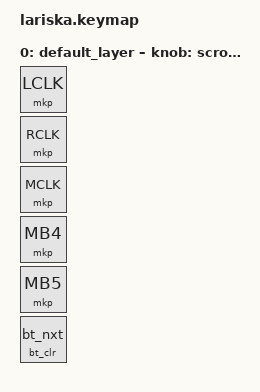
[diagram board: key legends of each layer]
#include <behaviors.dtsi>
#include <zephyr/dt-bindings/input/input-event-codes.h>
#include <dt-bindings/zmk/keys.h>
#include <dt-bindings/zmk/bt.h>
#include <dt-bindings/zmk/pointing.h>

&mkp_input_listener { input-processors = <&esb_ip>; };

/ {
    behaviors {
        /* Zero-param wrappers so hold-tap can bind them with #binding-cells = <2>. */
        bt_nxt: bt_nxt {
            compatible = "zmk,behavior-macro";
            #binding-cells = <0>;
            bindings = <&bt BT_NXT>;
        };

        bt_clr: bt_clr {
            compatible = "zmk,behavior-macro";
            #binding-cells = <0>;
            bindings = <&bt BT_CLR>;
        };

        /* Tap: cycle to next BLE profile.  Hold 3s: clear bonds on current profile. */
        dpi_btn: dpi_btn {
            compatible = "zmk,behavior-hold-tap";
            #binding-cells = <2>;
            tapping-term-ms = <3000>;
            flavor = "tap-preferred";
            bindings = <&bt_clr>, <&bt_nxt>;
        };

        stepped_scroll: stepped_scroll {
            compatible = "zmk,behavior-stepped-scroll";
            #binding-cells = <1>;
            input-code = <INPUT_REL_WHEEL>;
        };

        scroll: scroll {
            compatible = "zmk,behavior-sensor-rotate";
            #sensor-binding-cells = <0>;
            bindings = <&stepped_scroll (-1)>, <&stepped_scroll 1>;
        };
    };

    mou0_mmv_il {
        compatible = "zmk,input-listener";
        device = <&mou0>;
        input-processors = <&esb_ip>;
    };

    stepped_scroll_il {
        compatible = "zmk,input-listener";
        device = <&stepped_scroll>;
        input-processors = <&esb_ip>;
    };

    keymap {
        compatible = "zmk,keymap";

        default_layer {
            bindings = <
                &mkp LCLK
                &mkp RCLK
                &mkp MCLK
                &mkp MB4
                &mkp MB5
                &dpi_btn 0 0
            >;
            sensor-bindings = <&scroll>;
        };
    };
};
